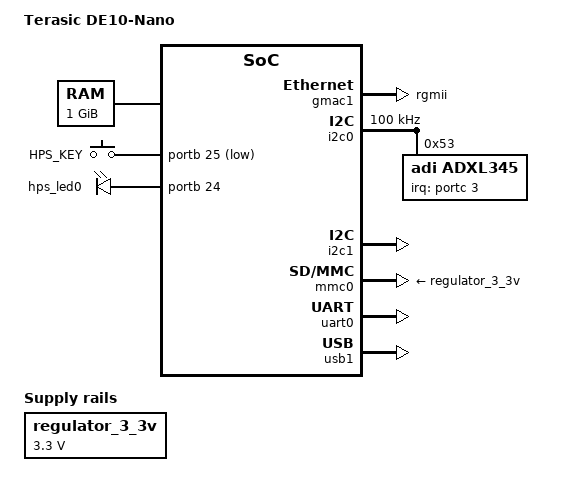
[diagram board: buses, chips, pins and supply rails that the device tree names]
// SPDX-License-Identifier: GPL-2.0-or-later

/*
 * socfpga_cyclone5_de10_nano.dts - Device Tree File for Terasic DE10-Nano
 * Copyright (C) 2021 Gwenhael Goavec-Merou <gwenhael.goavec-merou@trabucayre.com>
 */

#include <arm/intel/socfpga/socfpga_cyclone5.dtsi>
#include "socfpga.dtsi"
#include <dt-bindings/gpio/gpio.h>
#include <dt-bindings/input/input.h>

/ {
	model = "Terasic DE10-Nano";
	compatible = "terasic,de10-nano", "altr,socfpga-cyclone5", "altr,socfpga";
	barebox,disable-deep-probe;

	chosen {
		bootargs = "earlyprintk";
		stdout-path = &uart0;

		environment {
			compatible = "barebox,environment";
			device-path = &mmc, "partname:1";
			file-path = "barebox.env";
		};
	};

	memory@0 {
		name = "memory";
		device_type = "memory";
		reg = <0x0 0x40000000>; /* 1GB */
	};

	aliases {
		ethernet0 = &gmac1;
	};

	regulator_3_3v: 3-3-v-regulator {
		compatible = "regulator-fixed";
		regulator-name = "3.3V";
		regulator-min-microvolt = <3300000>;
		regulator-max-microvolt = <3300000>;
	};

	gpio-keys {
		compatible = "gpio-keys";

		hps_hkey0 {
			label = "HPS_KEY";
			gpios = <&portb 25 GPIO_ACTIVE_LOW>;
			linux,code = <BTN_0>;
		};
	};

	leds {
		compatible = "gpio-leds";
		hps0 {
			label = "hps_led0";
			gpios = <&portb 24 0>;
			linux,default-trigger = "heartbeat";
		};
	};
};

&gmac1 {
	status = "okay";
	phy-mode = "rgmii";

	txd0-skew-ps = <0>; /* -420ps */
	txd1-skew-ps = <0>; /* -420ps */
	txd2-skew-ps = <0>; /* -420ps */
	txd3-skew-ps = <0>; /* -420ps */
	rxd0-skew-ps = <420>; /* 0ps */
	rxd1-skew-ps = <420>; /* 0ps */
	rxd2-skew-ps = <420>; /* 0ps */
	rxd3-skew-ps = <420>; /* 0ps */
	txen-skew-ps = <0>; /* -420ps */
	txc-skew-ps = <1860>; /* 960ps */
	rxdv-skew-ps = <420>; /* 0ps */
	rxc-skew-ps = <1680>; /* 780ps */

	max-frame-size = <3800>;
};

&gpio0 {
	status = "okay";
};

&gpio1 {
	status = "okay";
};

&gpio2 {
	status = "okay";
};

&i2c0 {
	status = "okay";
	clock-frequency = <100000>;

	adxl345: adxl345@53 {
		compatible = "adi,adxl345";
		reg = <0x53>;

		interrupt-parent = <&portc>;
		interrupts = <3 2>;
	};
};

&i2c1 {
	status = "okay";
};

&mmc0 {
	vmmc-supply = <&regulator_3_3v>;
	vqmmc-supply = <&regulator_3_3v>;
	status = "okay";
};

&uart0 {
	status = "okay";
};

&usb1 {
	status = "okay";
};
